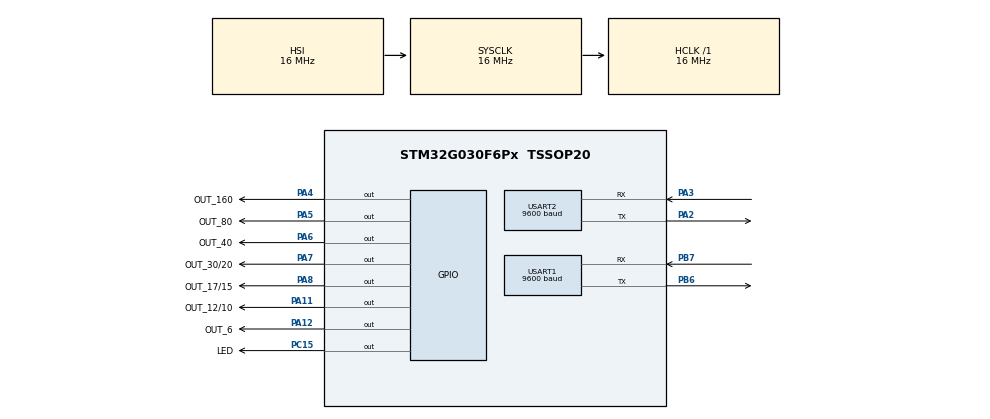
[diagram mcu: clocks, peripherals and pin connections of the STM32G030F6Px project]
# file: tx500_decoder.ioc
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Mcu.Family=STM32G0
Mcu.Name=STM32G030F6Px
Mcu.Package=TSSOP20
NVIC.TIM14_IRQn=true\:0\:0\:false\:false\:true\:true\:true\:true
NVIC.USART1_IRQn=true\:0\:0\:false\:false\:true\:true\:true\:true
NVIC.USART2_IRQn=true\:0\:0\:false\:false\:true\:true\:true\:true
PA11\ [PA9].GPIO_Label=OUT_12/10
PA11\ [PA9].Signal=GPIO_Output
PA12\ [PA10].GPIO_Label=OUT_6
PA12\ [PA10].Signal=GPIO_Output
PA13.Mode=Serial_Wire
PA13.Signal=SYS_SWDIO
PA14-BOOT0.Mode=Serial_Wire
PA14-BOOT0.Signal=SYS_SWCLK
PA14-BOOT0__PA15.StandardMode=true
PA2.Mode=Asynchronous
PA2.Signal=USART2_TX
PA3.Mode=Asynchronous
PA3.Signal=USART2_RX
PA4.GPIO_Label=OUT_160
PA4.Signal=GPIO_Output
PA5.GPIO_Label=OUT_80
PA5.Signal=GPIO_Output
PA6.GPIO_Label=OUT_40
PA6.Signal=GPIO_Output
PA7.GPIO_Label=OUT_30/20
PA7.Signal=GPIO_Output
PA8.GPIO_Label=OUT_17/15
PA8.Signal=GPIO_Output
PB0__PB1__PB2__PA8.StandardMode=true
PB3__PB4__PB5__PB6.StandardMode=true
PB6.Mode=Asynchronous
PB6.Signal=USART1_TX
PB7.Mode=Asynchronous
PB7.Signal=USART1_RX
PB7__PB8.StandardMode=true
PC14-OSC32_IN\ (PC14)__PB9.StandardMode=true
PC15-OSC32_OUT\ (PC15).GPIO_Label=LED
PC15-OSC32_OUT\ (PC15).Signal=GPIO_Output
ProjectManager.HeapSize=0x200
ProjectManager.StackSize=0x400
ProjectManager.TargetToolchain=STM32CubeIDE
RCC.AHBFreq_Value=16000000
RCC.CortexFreq_Value=16000000
RCC.EXTERNAL_CLOCK_VALUE=12288000
RCC.HCLKFreq_Value=16000000
RCC.HSE_VALUE=8000000
RCC.HSI_VALUE=16000000
RCC.LSE_VALUE=32768
RCC.SYSCLKFreq_VALUE=16000000
RCC.VCOOutputFreq_Value=128000000
TIM14.AutoReloadPreload=TIM_AUTORELOAD_PRELOAD_ENABLE
TIM14.Period=499
TIM14.Prescaler=15999
USART1.BaudRate=9600
USART1.VirtualMode-Asynchronous=VM_ASYNC
USART2.BaudRate=9600
USART2.VirtualMode-Asynchronous=VM_ASYNC
VP_TIM14_VS_ClockSourceINT.Mode=Enable_Timer
board=custom

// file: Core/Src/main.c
/* USER CODE BEGIN Header */
/**
  ******************************************************************************
  * @file           : main.c
  * @brief          : Main program body
  ******************************************************************************
  * @attention
  *
  * Copyright (c) 2024 STMicroelectronics.
  * All rights reserved.
  *
  * This software is licensed under terms that can be found in the LICENSE file
  * in the root directory of this software component.
  * If no LICENSE file comes with this software, it is provided AS-IS.
  *
  ******************************************************************************
  */
/* USER CODE END Header */
#include "main.h"

/* USER CODE BEGIN PTD */
int flag_band;
int isDataReady;
int time_last_pcdata;
char PCData[40];
char TRXData[40];
/* USER CODE END PTD */

/* USER CODE BEGIN PD */

void USART1_Send (char chr){
	while (!(USART1->ISR & USART_ISR_TC));
	USART1->TDR = chr;
}

void Send_String_To_PC (char* str){
	uint8_t i = 0;
	while(str[i])
	USART1_Send (str[i++]);
}

void USART2_Send (char chr){
	while (!(USART2->ISR & USART_ISR_TC));
	USART2->TDR = chr;
}

void Send_String_To_TRX (char* str){
	uint8_t i = 0;
	while(str[i])
	USART2_Send (str[i++]);
}

void ResetAllOuts(){
	LL_GPIO_ResetOutputPin(OUT_160_GPIO_Port, OUT_160_Pin);
	LL_GPIO_ResetOutputPin(OUT_80_GPIO_Port, OUT_80_Pin);
	LL_GPIO_ResetOutputPin(OUT_40_GPIO_Port, OUT_40_Pin);
	LL_GPIO_ResetOutputPin(OUT_30_20_GPIO_Port, OUT_30_20_Pin);
	LL_GPIO_ResetOutputPin(OUT_17_15_GPIO_Port, OUT_17_15_Pin);
	LL_GPIO_ResetOutputPin(OUT_12_10_GPIO_Port, OUT_12_10_Pin);
	LL_GPIO_ResetOutputPin(OUT_6_GPIO_Port, OUT_6_Pin);
}

void SetOutput(){
	if (flag_band==160){
		ResetAllOuts();
		LL_GPIO_SetOutputPin(OUT_160_GPIO_Port, OUT_160_Pin);
		flag_band=0;
	}
	if (flag_band==80){
		ResetAllOuts();
		LL_GPIO_SetOutputPin(OUT_80_GPIO_Port, OUT_80_Pin);
		flag_band=0;
		}
	if ((flag_band==40)||(flag_band==60)){
		ResetAllOuts();
		LL_GPIO_SetOutputPin(OUT_40_GPIO_Port, OUT_40_Pin);
		flag_band=0;
		}
	if ((flag_band==30)||(flag_band==20)){
		ResetAllOuts();
		LL_GPIO_SetOutputPin(OUT_30_20_GPIO_Port, OUT_30_20_Pin);
		flag_band=0;
		}
	if ((flag_band==17)||(flag_band==15)){
		ResetAllOuts();
		LL_GPIO_SetOutputPin(OUT_17_15_GPIO_Port, OUT_17_15_Pin);
		flag_band=0;
		}
	if ((flag_band==12)||(flag_band==10)){
		ResetAllOuts();
		LL_GPIO_SetOutputPin(OUT_12_10_GPIO_Port, OUT_12_10_Pin);
		flag_band=0;
		}
	if (flag_band==6){
		ResetAllOuts();
		LL_GPIO_SetOutputPin(OUT_6_GPIO_Port, OUT_6_Pin);
		flag_band=0;
		}
	/*if (flag_band==0){
		TRXData[5] = TRXData[6] = TRXData[7] = TRXData[0] = TRXData[1] = '0';
	}*/

}
/* USER CODE END PD */

void SystemClock_Config(void);
static void MX_GPIO_Init(void);
static void MX_USART1_UART_Init(void);
static void MX_USART2_UART_Init(void);
static void MX_TIM14_Init(void);

int main(void)
{

  /* MCU Configuration--------------------------------------------------------*/

  /* Reset of all peripherals, Initializes the Flash interface and the Systick. */
  HAL_Init();

  /* Configure the system clock */
  SystemClock_Config();

  /* Initialize all configured peripherals */
  MX_GPIO_Init();
  MX_USART1_UART_Init();
  MX_USART2_UART_Init();
  MX_TIM14_Init();
  /* USER CODE BEGIN 2 */
  LL_TIM_EnableCounter(TIM14);
  LL_TIM_EnableIT_UPDATE(TIM14);
  LL_USART_EnableIT_RXNE_RXFNE(USART1);
  LL_USART_EnableIT_RXNE_RXFNE(USART2);
  flag_band = 0;
  isDataReady=0;
  time_last_pcdata=0;
  /* USER CODE END 2 */

  /* Infinite loop */
  while (1)
  {
    if (isDataReady){
    	SetOutput();
    }
    if ((HAL_GetTick() - time_last_pcdata) > 3000){
		#ifdef TX500
    		Send_String_To_TRX("IF;");
		#endif
		#ifdef G90
    		USART2_Send(0xFE);
    		USART2_Send(0xFE);
    		USART2_Send(0x70);
    		USART2_Send(0x00);
    		USART2_Send(0x03);
    		USART2_Send(0xFD);
		#endif
    		LL_mDelay(1000);
    }

  }
}

void SystemClock_Config(void)
{
  RCC_OscInitTypeDef RCC_OscInitStruct = {0};
  RCC_ClkInitTypeDef RCC_ClkInitStruct = {0};

  /** Configure the main internal regulator output voltage
  */
  HAL_PWREx_ControlVoltageScaling(PWR_REGULATOR_VOLTAGE_SCALE1);

  /** Initializes the RCC Oscillators according to the specified parameters
  * in the RCC_OscInitTypeDef structure.
  */
  RCC_OscInitStruct.OscillatorType = RCC_OSCILLATORTYPE_HSI;
  RCC_OscInitStruct.HSIState = RCC_HSI_ON;
  RCC_OscInitStruct.HSIDiv = RCC_HSI_DIV1;
  RCC_OscInitStruct.HSICalibrationValue = RCC_HSICALIBRATION_DEFAULT;
  RCC_OscInitStruct.PLL.PLLState = RCC_PLL_NONE;
  if (HAL_RCC_OscConfig(&RCC_OscInitStruct) != HAL_OK)
  {
    Error_Handler();
  }

  /** Initializes the CPU, AHB and APB buses clocks
  */
  RCC_ClkInitStruct.ClockType = RCC_CLOCKTYPE_HCLK|RCC_CLOCKTYPE_SYSCLK
                              |RCC_CLOCKTYPE_PCLK1;
  RCC_ClkInitStruct.SYSCLKSource = RCC_SYSCLKSOURCE_HSI;
  RCC_ClkInitStruct.AHBCLKDivider = RCC_SYSCLK_DIV1;
  RCC_ClkInitStruct.APB1CLKDivider = RCC_HCLK_DIV1;

  if (HAL_RCC_ClockConfig(&RCC_ClkInitStruct, FLASH_LATENCY_0) != HAL_OK)
  {
    Error_Handler();
  }
}

static void MX_TIM14_Init(void)
{

  LL_TIM_InitTypeDef TIM_InitStruct = {0};

  /* Peripheral clock enable */
  LL_APB2_GRP1_EnableClock(LL_APB2_GRP1_PERIPH_TIM14);

  /* TIM14 interrupt Init */
  NVIC_SetPriority(TIM14_IRQn, 0);
  NVIC_EnableIRQ(TIM14_IRQn);

  TIM_InitStruct.Prescaler = 15999;
  TIM_InitStruct.CounterMode = LL_TIM_COUNTERMODE_UP;
  TIM_InitStruct.Autoreload = 499;
  TIM_InitStruct.ClockDivision = LL_TIM_CLOCKDIVISION_DIV1;
  LL_TIM_Init(TIM14, &TIM_InitStruct);
  LL_TIM_EnableARRPreload(TIM14);

}

static void MX_USART1_UART_Init(void)
{

  LL_USART_InitTypeDef USART_InitStruct = {0};

  LL_GPIO_InitTypeDef GPIO_InitStruct = {0};
  RCC_PeriphCLKInitTypeDef PeriphClkInit = {0};

  /** Initializes the peripherals clocks
  */
  PeriphClkInit.PeriphClockSelection = RCC_PERIPHCLK_USART1;
  PeriphClkInit.Usart1ClockSelection = RCC_USART1CLKSOURCE_PCLK1;
  if (HAL_RCCEx_PeriphCLKConfig(&PeriphClkInit) != HAL_OK)
  {
    Error_Handler();
  }

  /* Peripheral clock enable */
  LL_APB2_GRP1_EnableClock(LL_APB2_GRP1_PERIPH_USART1);

  LL_IOP_GRP1_EnableClock(LL_IOP_GRP1_PERIPH_GPIOB);
  /**USART1 GPIO Configuration
  PB7   ------> USART1_RX
  PB6   ------> USART1_TX
  */
  GPIO_InitStruct.Pin = LL_GPIO_PIN_7;
  GPIO_InitStruct.Mode = LL_GPIO_MODE_ALTERNATE;
  GPIO_InitStruct.Speed = LL_GPIO_SPEED_FREQ_LOW;
  GPIO_InitStruct.OutputType = LL_GPIO_OUTPUT_PUSHPULL;
  GPIO_InitStruct.Pull = LL_GPIO_PULL_NO;
  GPIO_InitStruct.Alternate = LL_GPIO_AF_0;
  LL_GPIO_Init(GPIOB, &GPIO_InitStruct);

  GPIO_InitStruct.Pin = LL_GPIO_PIN_6;
  GPIO_InitStruct.Mode = LL_GPIO_MODE_ALTERNATE;
  GPIO_InitStruct.Speed = LL_GPIO_SPEED_FREQ_LOW;
  GPIO_InitStruct.OutputType = LL_GPIO_OUTPUT_PUSHPULL;
  GPIO_InitStruct.Pull = LL_GPIO_PULL_NO;
  GPIO_InitStruct.Alternate = LL_GPIO_AF_0;
  LL_GPIO_Init(GPIOB, &GPIO_InitStruct);

  /* USART1 interrupt Init */
  NVIC_SetPriority(USART1_IRQn, 0);
  NVIC_EnableIRQ(USART1_IRQn);

  USART_InitStruct.PrescalerValue = LL_USART_PRESCALER_DIV1;
#ifdef TX500
  USART_InitStruct.BaudRate = 9600;
#endif
#ifdef G90
  USART_InitStruct.BaudRate = 19200;
#endif
  USART_InitStruct.DataWidth = LL_USART_DATAWIDTH_8B;
  USART_InitStruct.StopBits = LL_USART_STOPBITS_1;
  USART_InitStruct.Parity = LL_USART_PARITY_NONE;
  USART_InitStruct.TransferDirection = LL_USART_DIRECTION_TX_RX;
  USART_InitStruct.HardwareFlowControl = LL_USART_HWCONTROL_NONE;
  USART_InitStruct.OverSampling = LL_USART_OVERSAMPLING_16;
  LL_USART_Init(USART1, &USART_InitStruct);
  LL_USART_SetTXFIFOThreshold(USART1, LL_USART_FIFOTHRESHOLD_1_8);
  LL_USART_SetRXFIFOThreshold(USART1, LL_USART_FIFOTHRESHOLD_1_8);
  LL_USART_DisableFIFO(USART1);
  LL_USART_ConfigAsyncMode(USART1);

  LL_USART_Enable(USART1);

  /* Polling USART1 initialisation */
  while((!(LL_USART_IsActiveFlag_TEACK(USART1))) || (!(LL_USART_IsActiveFlag_REACK(USART1))))
  {
  }

}

static void MX_USART2_UART_Init(void)
{

  LL_USART_InitTypeDef USART_InitStruct = {0};

  LL_GPIO_InitTypeDef GPIO_InitStruct = {0};

  /* Peripheral clock enable */
  LL_APB1_GRP1_EnableClock(LL_APB1_GRP1_PERIPH_USART2);

  LL_IOP_GRP1_EnableClock(LL_IOP_GRP1_PERIPH_GPIOA);
  /**USART2 GPIO Configuration
  PA2   ------> USART2_TX
  PA3   ------> USART2_RX
  */
  GPIO_InitStruct.Pin = LL_GPIO_PIN_2;
  GPIO_InitStruct.Mode = LL_GPIO_MODE_ALTERNATE;
  GPIO_InitStruct.Speed = LL_GPIO_SPEED_FREQ_LOW;
  GPIO_InitStruct.OutputType = LL_GPIO_OUTPUT_PUSHPULL;
  GPIO_InitStruct.Pull = LL_GPIO_PULL_NO;
  GPIO_InitStruct.Alternate = LL_GPIO_AF_1;
  LL_GPIO_Init(GPIOA, &GPIO_InitStruct);

  GPIO_InitStruct.Pin = LL_GPIO_PIN_3;
  GPIO_InitStruct.Mode = LL_GPIO_MODE_ALTERNATE;
  GPIO_InitStruct.Speed = LL_GPIO_SPEED_FREQ_LOW;
  GPIO_InitStruct.OutputType = LL_GPIO_OUTPUT_PUSHPULL;
  GPIO_InitStruct.Pull = LL_GPIO_PULL_NO;
  GPIO_InitStruct.Alternate = LL_GPIO_AF_1;
  LL_GPIO_Init(GPIOA, &GPIO_InitStruct);

  /* USART2 interrupt Init */
  NVIC_SetPriority(USART2_IRQn, 0);
  NVIC_EnableIRQ(USART2_IRQn);

  USART_InitStruct.PrescalerValue = LL_USART_PRESCALER_DIV1;
#ifdef TX500
  USART_InitStruct.BaudRate = 9600;
#endif
#ifdef G90
  USART_InitStruct.BaudRate = 19200;
#endif
  USART_InitStruct.DataWidth = LL_USART_DATAWIDTH_8B;
  USART_InitStruct.StopBits = LL_USART_STOPBITS_1;
  USART_InitStruct.Parity = LL_USART_PARITY_NONE;
  USART_InitStruct.TransferDirection = LL_USART_DIRECTION_TX_RX;
  USART_InitStruct.HardwareFlowControl = LL_USART_HWCONTROL_NONE;
  USART_InitStruct.OverSampling = LL_USART_OVERSAMPLING_16;
  LL_USART_Init(USART2, &USART_InitStruct);
  LL_USART_ConfigAsyncMode(USART2);

  LL_USART_Enable(USART2);

  /* Polling USART2 initialisation */
  while((!(LL_USART_IsActiveFlag_TEACK(USART2))) || (!(LL_USART_IsActiveFlag_REACK(USART2))))
  {
  }

}

static void MX_GPIO_Init(void)
{
  LL_GPIO_InitTypeDef GPIO_InitStruct = {0};

  /* GPIO Ports Clock Enable */
  LL_IOP_GRP1_EnableClock(LL_IOP_GRP1_PERIPH_GPIOB);
  LL_IOP_GRP1_EnableClock(LL_IOP_GRP1_PERIPH_GPIOC);
  LL_IOP_GRP1_EnableClock(LL_IOP_GRP1_PERIPH_GPIOA);

  /**/
  LL_GPIO_ResetOutputPin(LED_GPIO_Port, LED_Pin);

  /**/
  LL_GPIO_ResetOutputPin(OUT_160_GPIO_Port, OUT_160_Pin);

  /**/
  LL_GPIO_ResetOutputPin(OUT_80_GPIO_Port, OUT_80_Pin);

  /**/
  LL_GPIO_ResetOutputPin(OUT_40_GPIO_Port, OUT_40_Pin);

  /**/
  LL_GPIO_ResetOutputPin(OUT_30_20_GPIO_Port, OUT_30_20_Pin);

  /**/
  LL_GPIO_ResetOutputPin(OUT_17_15_GPIO_Port, OUT_17_15_Pin);

  /**/
  LL_GPIO_ResetOutputPin(OUT_12_10_GPIO_Port, OUT_12_10_Pin);

  /**/
  LL_GPIO_ResetOutputPin(OUT_6_GPIO_Port, OUT_6_Pin);

  /**/
  GPIO_InitStruct.Pin = LED_Pin;
  GPIO_InitStruct.Mode = LL_GPIO_MODE_OUTPUT;
  GPIO_InitStruct.Speed = LL_GPIO_SPEED_FREQ_LOW;
  GPIO_InitStruct.OutputType = LL_GPIO_OUTPUT_PUSHPULL;
  GPIO_InitStruct.Pull = LL_GPIO_PULL_NO;
  LL_GPIO_Init(LED_GPIO_Port, &GPIO_InitStruct);

  /**/
  GPIO_InitStruct.Pin = OUT_160_Pin;
  GPIO_InitStruct.Mode = LL_GPIO_MODE_OUTPUT;
  GPIO_InitStruct.Speed = LL_GPIO_SPEED_FREQ_LOW;
  GPIO_InitStruct.OutputType = LL_GPIO_OUTPUT_PUSHPULL;
  GPIO_InitStruct.Pull = LL_GPIO_PULL_NO;
  LL_GPIO_Init(OUT_160_GPIO_Port, &GPIO_InitStruct);

  /**/
  GPIO_InitStruct.Pin = OUT_80_Pin;
  GPIO_InitStruct.Mode = LL_GPIO_MODE_OUTPUT;
  GPIO_InitStruct.Speed = LL_GPIO_SPEED_FREQ_LOW;
  GPIO_InitStruct.OutputType = LL_GPIO_OUTPUT_PUSHPULL;
  GPIO_InitStruct.Pull = LL_GPIO_PULL_NO;
  LL_GPIO_Init(OUT_80_GPIO_Port, &GPIO_InitStruct);

  /**/
  GPIO_InitStruct.Pin = OUT_40_Pin;
  GPIO_InitStruct.Mode = LL_GPIO_MODE_OUTPUT;
  GPIO_InitStruct.Speed = LL_GPIO_SPEED_FREQ_LOW;
  GPIO_InitStruct.OutputType = LL_GPIO_OUTPUT_PUSHPULL;
  GPIO_InitStruct.Pull = LL_GPIO_PULL_NO;
  LL_GPIO_Init(OUT_40_GPIO_Port, &GPIO_InitStruct);

  /**/
  GPIO_InitStruct.Pin = OUT_30_20_Pin;
  GPIO_InitStruct.Mode = LL_GPIO_MODE_OUTPUT;
  GPIO_InitStruct.Speed = LL_GPIO_SPEED_FREQ_LOW;
  GPIO_InitStruct.OutputType = LL_GPIO_OUTPUT_PUSHPULL;
  GPIO_InitStruct.Pull = LL_GPIO_PULL_NO;
  LL_GPIO_Init(OUT_30_20_GPIO_Port, &GPIO_InitStruct);

  /**/
  GPIO_InitStruct.Pin = OUT_17_15_Pin;
  GPIO_InitStruct.Mode = LL_GPIO_MODE_OUTPUT;
  GPIO_InitStruct.Speed = LL_GPIO_SPEED_FREQ_LOW;
  GPIO_InitStruct.OutputType = LL_GPIO_OUTPUT_PUSHPULL;
  GPIO_InitStruct.Pull = LL_GPIO_PULL_NO;
  LL_GPIO_Init(OUT_17_15_GPIO_Port, &GPIO_InitStruct);

  /**/
  GPIO_InitStruct.Pin = OUT_12_10_Pin;
  GPIO_InitStruct.Mode = LL_GPIO_MODE_OUTPUT;
  GPIO_InitStruct.Speed = LL_GPIO_SPEED_FREQ_LOW;
  GPIO_InitStruct.OutputType = LL_GPIO_OUTPUT_PUSHPULL;
  GPIO_InitStruct.Pull = LL_GPIO_PULL_NO;
  LL_GPIO_Init(OUT_12_10_GPIO_Port, &GPIO_InitStruct);

  /**/
  GPIO_InitStruct.Pin = OUT_6_Pin;
  GPIO_InitStruct.Mode = LL_GPIO_MODE_OUTPUT;
  GPIO_InitStruct.Speed = LL_GPIO_SPEED_FREQ_LOW;
  GPIO_InitStruct.OutputType = LL_GPIO_OUTPUT_PUSHPULL;
  GPIO_InitStruct.Pull = LL_GPIO_PULL_NO;
  LL_GPIO_Init(OUT_6_GPIO_Port, &GPIO_InitStruct);

}

void Error_Handler(void)
{
  __disable_irq();
  while (1)
  {
  }
}
